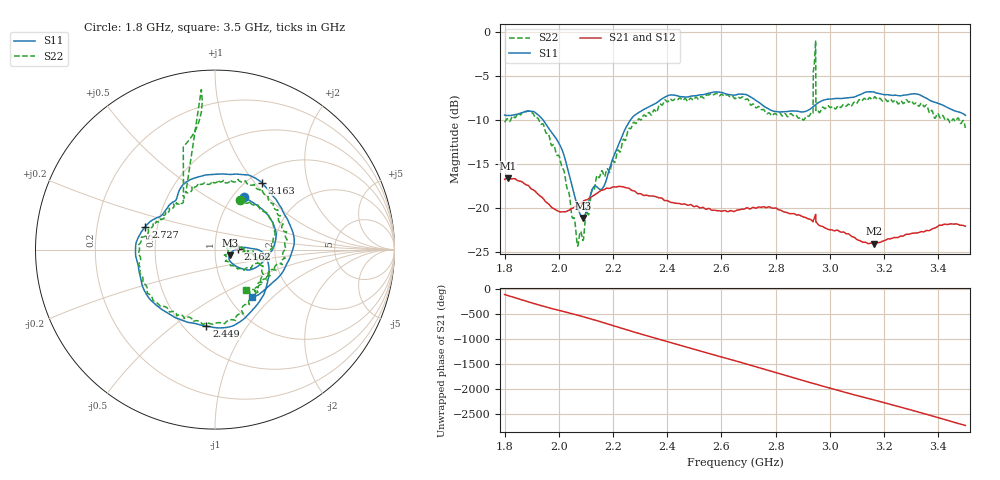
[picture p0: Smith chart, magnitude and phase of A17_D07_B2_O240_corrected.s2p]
! Created with skrf 1.9.0 (http://scikit-rf.org).
# Hz S RI R 50.0
!freq ReS11 ImS11 ReS21 ImS21 ReS12 ImS12 ReS22 ImS22
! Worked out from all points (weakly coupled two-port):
!   1601 points, 1.8 GHz to 3.5 GHz, reference 50 ohm
!   highest |S21| = -16.64 dB at 1.812 GHz (marker M1); lowest = -24.1 dB at 3.162 GHz (marker M2)
!   lowest |S11| = -21.2 dB at 2.09 GHz (marker M3), VSWR 1.19, Z = 58.8 - j3.67 ohm
!   |S11| at or under -10 dB: 1.942 GHz to 2.265 GHz (322.9 MHz wide, 15.4 % of centre)
!   |S22| runs from -24.4 to -1.0 dB; largest |S21 - S12| = 0.0028
!   S11 on the Smith chart (normalised r, x): 1.8 GHz: 1.12, +0.75; 2.162 GHz: 1.30, +0.02; 2.449 GHz: 0.64, -0.67; 2.727 GHz: 0.43, +0.13; 3.163 GHz: 1.16, +1.09; 3.5 GHz: 1.27, -0.76
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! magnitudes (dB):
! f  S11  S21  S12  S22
! 1.8 GHz  -9.4  -16.8  -16.8  -10.3
! 1.812 GHz  -9.5  -16.6  -16.6  -9.9
! 1.941 GHz  -10.0  -18.9  -18.9  -10.5
! 2.011 GHz  -13.4  -20.5  -20.4  -15.4
! 2.067 GHz  -19.6  -19.7  -19.7  -24.0
! 2.084 GHz  -21.0  -19.4  -19.4  -23.0
! 2.09 GHz  -21.2  -19.3  -19.3  -23.7
! 2.127 GHz  -17.7  -18.6  -18.6  -18.0
! 2.162 GHz  -17.7  -18.0  -17.9  -16.0
! 2.26 GHz  -10.2  -17.8  -17.8  -11.0
! 2.367 GHz  -7.9  -18.8  -18.8  -8.5
! 2.449 GHz  -7.4  -19.6  -19.6  -7.5
! 2.65 GHz  -7.2  -20.4  -20.4  -7.6
! 2.727 GHz  -7.8  -20.0  -20.0  -8.6
! 2.901 GHz  -9.1  -21.0  -21.0  -10.0
! 2.934 GHz  -8.6  -21.5  -21.4  -9.1
! 2.947 GHz  -8.3  -20.7  -20.8  -1.0
! 2.957 GHz  -8.0  -21.9  -21.8  -9.0
! 3.162 GHz  -6.8  -24.1  -24.0  -7.5
! 3.163 GHz  -6.8  -24.1  -24.0  -7.4
! 3.217 GHz  -7.1  -23.5  -23.5  -7.8
! 3.5 GHz  -9.5  -22.1  -22.1  -10.9
